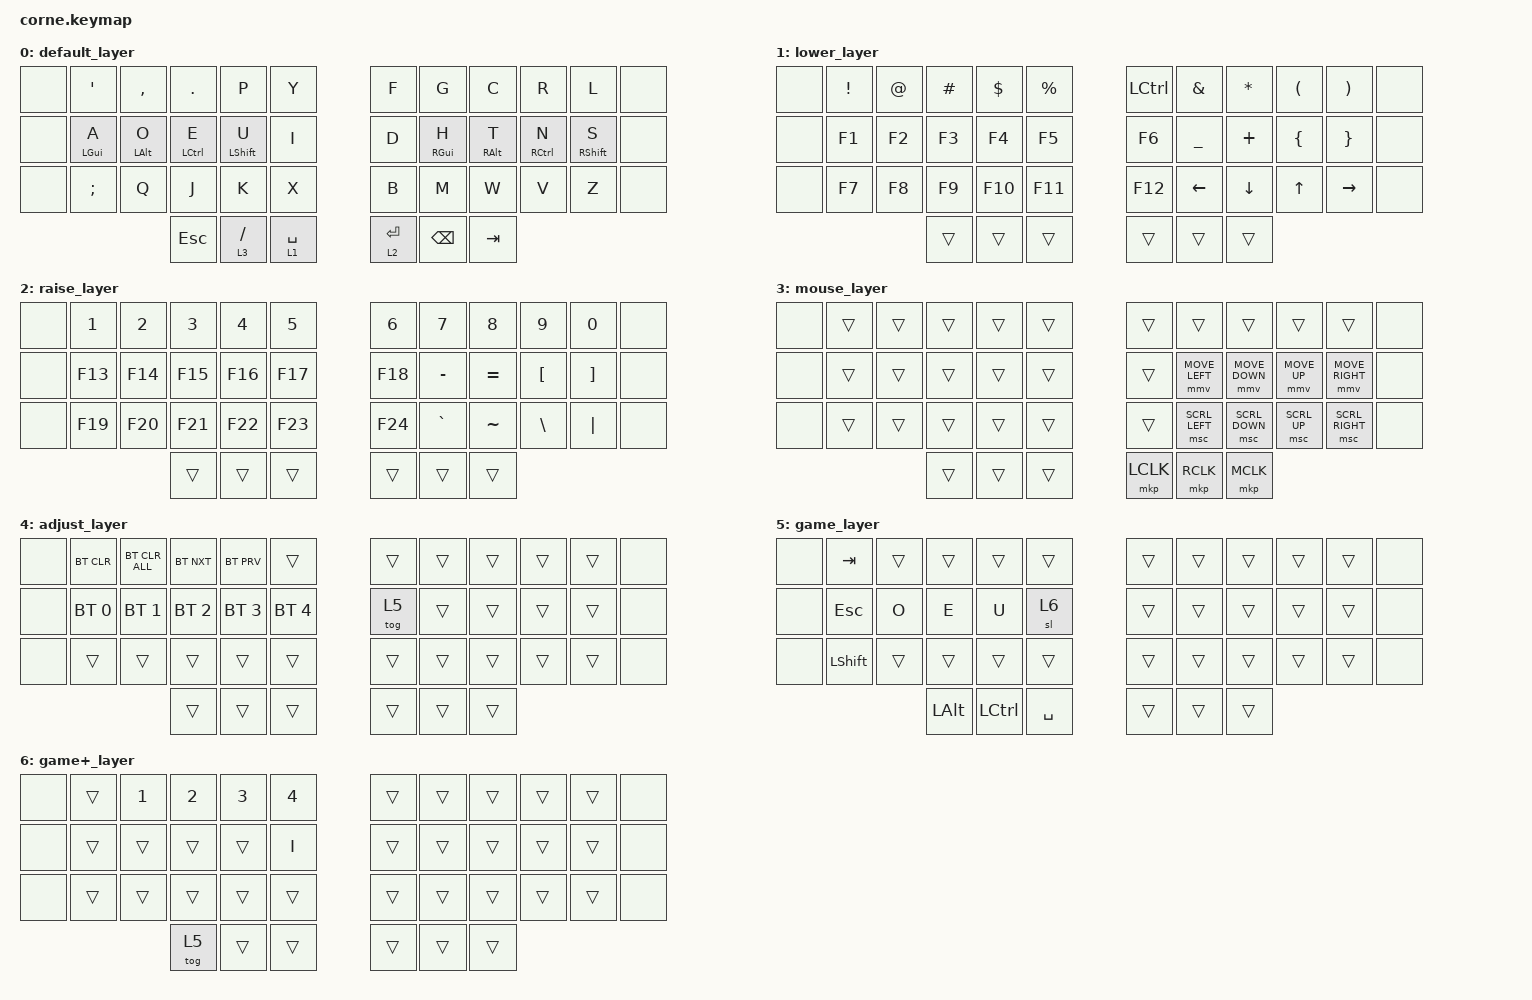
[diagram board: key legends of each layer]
/*
 * Copyright (c) 2020 The ZMK Contributors
 *
 * SPDX-License-Identifier: MIT
 */

#include <behaviors.dtsi>
#include <dt-bindings/zmk/bt.h>
#include <dt-bindings/zmk/keys.h>
#include <dt-bindings/zmk/pointing.h>

&lt { quick-tap-ms = <150>; };

/ {
    behaviors {
        hml: home_row_mod_left {
            compatible = "zmk,behavior-hold-tap";
            #binding-cells = <2>;
            flavor = "balanced";
            require-prior-idle-ms = <150>;
            tapping-term-ms = <280>;
            quick-tap-ms = <175>;
            bindings = <&kp>, <&kp>;

            hold-trigger-on-release;
            hold-trigger-key-positions = <5 4 2 3 14 15 26 27 28 16 17 25 29 13 1 12 24 0 38 37 36>;
        };

        hmr: home_row_mod_right {
            compatible = "zmk,behavior-hold-tap";
            #binding-cells = <2>;
            flavor = "balanced";
            require-prior-idle-ms = <150>;
            tapping-term-ms = <280>;
            quick-tap-ms = <175>;
            bindings = <&kp>, <&kp>;

            hold-trigger-on-release;
            hold-trigger-key-positions = <6 18 19 7 8 20 9 21 10 11 23 22 34 35 33 32 31 30 39 40 41>;
        };
    };

    keymap {
        compatible = "zmk,keymap";

        default_layer {
            // -----------------------------------------------------------------------------------------
            // |  TAB |  Q  |  W  |  E  |  R  |  T  |   |  Y  |  U   |  I  |  O  |  P  | BKSP |
            // | CTRL |  A  |  S  |  D  |  F  |  G  |   |  H  |  J   |  K  |  L  |  ;  |  '   |
            // | SHFT |  Z  |  X  |  C  |  V  |  B  |   |  N  |  M   |  ,  |  .  |  /  | ESC  |
            //                    | GUI | LWR | SPC |   | ENT | RSE  | ALT |

            bindings = <
&none  &kp SQT      &kp COMMA    &kp DOT       &kp P         &kp Y          &kp F         &kp G          &kp C        &kp R         &kp L         &none
&none  &hml LGUI A  &hml LALT O  &hml LCTRL E  &hml LSHFT U  &kp I          &kp D         &hmr RGUI H    &hmr RALT T  &hmr RCTRL N  &hmr RSHFT S  &none
&none  &kp SEMI     &kp Q        &kp J         &kp K         &kp X          &kp B         &kp M          &kp W        &kp V         &kp Z         &none
                                 &kp ESC       &lt 3 SLASH   &lt 1 SPACE    &lt 2 RETURN  &kp BACKSPACE  &kp TAB
            >;
        };

        lower_layer {
            bindings = <
&none  &kp EXCLAMATION  &kp AT_SIGN  &kp HASH  &kp DOLLAR  &kp PERCENT    &kp LCTRL  &kp AMPERSAND   &kp ASTERISK  &kp LEFT_PARENTHESIS  &kp RIGHT_PARENTHESIS  &none
&none  &kp F1           &kp F2       &kp F3    &kp F4      &kp F5         &kp F6     &kp UNDERSCORE  &kp PLUS      &kp LEFT_BRACE        &kp RIGHT_BRACE        &none
&none  &kp F7           &kp F8       &kp F9    &kp F10     &kp F11        &kp F12    &kp LEFT        &kp DOWN      &kp UP                &kp RIGHT              &none
                                     &trans    &trans      &trans         &trans     &trans          &trans
            >;
        };

        raise_layer {
            bindings = <
&none  &kp N1   &kp N2   &kp N3   &kp N4   &kp N5     &kp N6   &kp N7     &kp N8     &kp N9            &kp N0             &none
&none  &kp F13  &kp F14  &kp F15  &kp F16  &kp F17    &kp F18  &kp MINUS  &kp EQUAL  &kp LEFT_BRACKET  &kp RIGHT_BRACKET  &none
&none  &kp F19  &kp F20  &kp F21  &kp F22  &kp F23    &kp F24  &kp GRAVE  &kp TILDE  &kp BACKSLASH     &kp PIPE           &none
                         &trans   &trans   &trans     &trans   &trans     &trans
            >;
        };

        mouse_layer {
            bindings = <
&none  &trans  &trans  &trans  &trans  &trans    &trans     &trans          &trans          &trans        &trans           &none
&none  &trans  &trans  &trans  &trans  &trans    &trans     &mmv MOVE_LEFT  &mmv MOVE_DOWN  &mmv MOVE_UP  &mmv MOVE_RIGHT  &none
&none  &trans  &trans  &trans  &trans  &trans    &trans     &msc SCRL_LEFT  &msc SCRL_DOWN  &msc SCRL_UP  &msc SCRL_RIGHT  &none
                       &trans  &trans  &trans    &mkp LCLK  &mkp RCLK       &mkp MCLK
            >;
        };

        adjust_layer {
            bindings = <
&none  &bt BT_CLR    &bt BT_CLR_ALL  &bt BT_NXT    &bt BT_PRV    &trans          &trans  &trans  &trans  &trans  &trans  &none
&none  &bt BT_SEL 0  &bt BT_SEL 1    &bt BT_SEL 2  &bt BT_SEL 3  &bt BT_SEL 4    &tog 5  &trans  &trans  &trans  &trans  &none
&none  &trans        &trans          &trans        &trans        &trans          &trans  &trans  &trans  &trans  &trans  &none
                                     &trans        &trans        &trans          &trans  &trans  &trans
            >;
        };

        game_layer {
            bindings = <
&none  &kp TAB    &trans  &trans    &trans     &trans       &trans  &trans  &trans  &trans  &trans  &none
&none  &kp ESC    &kp O   &kp E     &kp U      &sl 6        &trans  &trans  &trans  &trans  &trans  &none
&none  &kp LSHFT  &trans  &trans    &trans     &trans       &trans  &trans  &trans  &trans  &trans  &none
                          &kp LALT  &kp LCTRL  &kp SPACE    &trans  &trans  &trans
            >;
        };

        game+_layer {
            bindings = <
&none  &trans  &kp N1  &kp N2  &kp N3  &kp N4    &trans  &trans  &trans  &trans  &trans  &none
&none  &trans  &trans  &trans  &trans  &kp I     &trans  &trans  &trans  &trans  &trans  &none
&none  &trans  &trans  &trans  &trans  &trans    &trans  &trans  &trans  &trans  &trans  &none
                       &tog 5  &trans  &trans    &trans  &trans  &trans
            >;
        };
    };

    conditional_layers {
        compatible = "zmk,conditional-layers";

        raise_and_lower {
            if-layers = <1 2>;
            then-layer = <4>;
        };
    };
};
